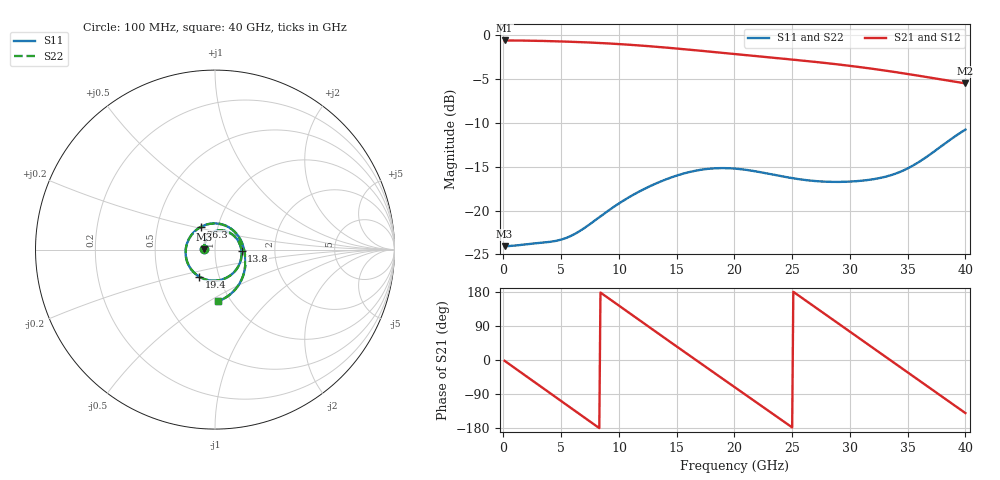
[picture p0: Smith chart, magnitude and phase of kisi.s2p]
! D_s8_stitch_0p5: L1 (ref L2) → L8 (ref L7), one GND via at 0.5 mm
! stackup: 8-layer 1.6 mm FR-4 (generic)
! ports: 1, 2
! kisi-fdtd, conformal, dfine 0.035 mm, 882180 cells
# Hz S RI R 50
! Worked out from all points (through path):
!   400 points, 100 MHz to 40 GHz, reference 50 ohm
!   highest |S21| = -0.61 dB at 100 MHz (marker M1); lowest = -5.5 dB at 40 GHz (marker M2)
!   group delay of S21, straight-line fit = 59.6 ps
!   lowest |S11| = -24.1 dB at 100 MHz (marker M3), VSWR 1.13, Z = 44.1 + j0.0631 ohm
!   |S11| at or under -10 dB: start of sweep to end of sweep
!   |S22| runs from -24.1 to -10.8 dB; largest |S21 - S12| = 2e-07
!   S11 on the Smith chart (normalised r, x): 100 MHz: 0.88, +0.00; 13.8 GHz: 1.35, -0.03; 19.4 GHz: 0.80, -0.25; 26.3 GHz: 0.83, +0.22; 40 GHz: 0.87, -0.55
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1e8  -0.0626 0.000712  0.9314 -0.0353  0.9314 -0.0353  -0.0626 0.000712
1.7e9  -0.0626 0.013  0.7442 -0.5585  0.7442 -0.5585  -0.0626 0.013
3.6e9  -0.0588 0.0295  0.1913 -0.9055  0.1913 -0.9055  -0.0588 0.0295
5.1e9  -0.0539 0.0424  -0.3228 -0.8611  -0.3228 -0.8611  -0.0539 0.0424
6.8e9  -0.0461 0.0627  -0.7671 -0.4916  -0.7671 -0.4916  -0.0461 0.0627
8.2e9  -0.0283 0.086  -0.9017 -0.0371  -0.9017 -0.0371  -0.0283 0.086
9.6e9  0.00975 0.105  -0.7883 0.4179  -0.7883 0.4179  0.00975 0.105
1.16e10  0.0904 0.0888  -0.2826 0.8277  -0.2826 0.8277  0.0904 0.0888
1.34e10  0.1438 0.0129  0.2921 0.8048  0.2921 0.8048  0.1438 0.0129
1.38e10  0.1478 -0.00969  0.4072 0.7482  0.4072 0.7482  0.1478 -0.00969
1.66e10  0.0727 -0.152  0.8196 0.0195  0.8196 0.0195  0.0727 -0.152
1.94e10  -0.0879 -0.1506  0.4118 -0.6707  0.4118 -0.6707  -0.0879 -0.1506
2.01e10  -0.1189 -0.126  0.2229 -0.7464  0.2229 -0.7464  -0.1189 -0.126
2.18e10  -0.1607 -0.0469  -0.255 -0.7158  -0.255 -0.7158  -0.1607 -0.0469
2.36e10  -0.1541 0.0393  -0.6277 -0.3924  -0.6277 -0.3924  -0.1541 0.0393
2.63e10  -0.0764 0.1277  -0.6406 0.3086  -0.6406 0.3086  -0.0764 0.1277
2.67e10  -0.0606 0.1349  -0.5838 0.3981  -0.5838 0.3981  -0.0606 0.1349
2.98e10  0.0687 0.1288  0.1268 0.6584  0.1268 0.6584  0.0687 0.1288
3.17e10  0.1279 0.0779  0.5079 0.3994  0.5079 0.3994  0.1279 0.0779
3.34e10  0.1569 0.0184  0.6226 0.0172  0.6226 0.0172  0.1569 0.0184
3.68e10  0.1625 -0.1261  0.1828 -0.5446  0.1828 -0.5446  0.1625 -0.1261
4e10  0.0145 -0.2889  -0.4065 -0.3409  -0.4065 -0.3409  0.0145 -0.2889
